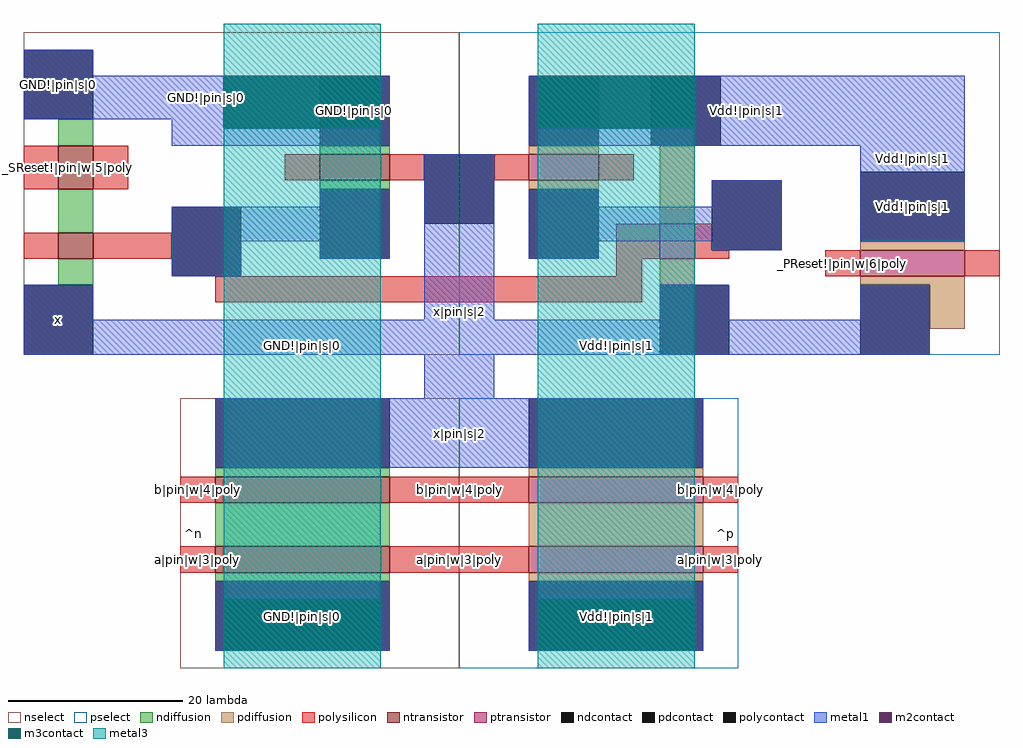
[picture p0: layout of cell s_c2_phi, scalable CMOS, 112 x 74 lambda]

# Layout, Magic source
magic
tech scmos
<< nselect >>
rect -50 118 0 155
rect -32 82 0 113
<< pselect >>
rect 0 118 62 155
rect 0 82 32 113
<< ndiffusion >>
rect -46 142 -42 145
rect -16 141 -8 142
rect -16 137 -8 138
rect -46 132 -42 137
rect -46 126 -42 129
rect -28 104 -8 105
rect -28 96 -8 101
rect -28 92 -8 93
<< pdiffusion >>
rect 8 141 16 142
rect 8 137 16 138
rect 23 133 27 142
rect 46 130 58 131
rect 23 126 27 129
rect 46 126 58 127
rect 54 121 58 126
rect 8 104 28 105
rect 8 96 28 101
rect 8 92 28 93
<< ntransistor >>
rect -46 137 -42 142
rect -16 138 -8 141
rect -46 129 -42 132
rect -28 101 -8 104
rect -28 93 -8 96
<< ptransistor >>
rect 8 138 16 141
rect 23 129 27 133
rect 46 127 58 130
rect 8 101 28 104
rect 8 93 28 96
<< polysilicon >>
rect -50 137 -46 142
rect -42 137 -38 142
rect -20 138 -16 141
rect -8 138 -4 141
rect -50 129 -46 132
rect -42 129 -33 132
rect 4 138 8 141
rect 16 138 20 141
rect 18 129 23 133
rect 27 130 29 133
rect 27 129 31 130
rect 18 127 21 129
rect -28 124 21 127
rect 42 127 46 130
rect 58 127 62 130
rect -32 101 -28 104
rect -8 101 8 104
rect 28 101 32 104
rect -32 93 -28 96
rect -8 93 8 96
rect 28 93 32 96
<< ndcontact >>
rect -50 145 -42 153
rect -16 142 -8 150
rect -16 129 -8 137
rect -50 118 -42 126
rect -28 105 -8 113
rect -28 84 -8 92
<< pdcontact >>
rect 8 142 16 150
rect 22 142 30 150
rect 8 129 16 137
rect 46 131 58 139
rect 23 118 31 126
rect 46 118 54 126
rect 8 105 28 113
rect 8 84 28 92
<< polycontact >>
rect -33 127 -25 135
rect -4 133 4 141
rect 29 130 37 138
<< metal1 >>
rect -50 150 -42 153
rect -50 145 -27 150
rect -33 144 -27 145
rect -9 144 -8 150
rect -33 142 -8 144
rect 8 144 9 150
rect 27 144 58 150
rect 8 142 58 144
rect -16 135 -8 137
rect -33 131 -8 135
rect -33 127 -25 131
rect -16 129 -8 131
rect -50 122 -42 126
rect -4 122 4 141
rect 8 135 16 137
rect 29 135 37 138
rect 8 131 37 135
rect 46 131 58 142
rect 8 129 16 131
rect 29 130 37 131
rect 23 122 31 126
rect 46 122 54 126
rect -50 118 54 122
rect -4 113 4 118
rect -28 105 28 113
rect -28 90 -8 92
rect -28 84 -27 90
rect -9 84 -8 90
rect 8 90 28 92
rect 8 84 9 90
rect 27 84 28 90
<< m2contact >>
rect -27 144 -9 150
rect 9 144 27 150
rect -27 84 -9 90
rect 9 84 27 90
<< m3contact >>
rect -27 144 -9 150
rect 9 144 27 150
rect -27 84 -9 90
rect 9 84 27 90
<< metal3 >>
rect -27 82 -9 156
rect 9 82 27 156
<< labels >>
rlabel metal1 -46 122 -46 122 3 x
rlabel space 28 82 33 113 3 ^p
rlabel space -33 82 -28 113 7 ^n
rlabel metal3 -27 82 -9 156 1 GND!|pin|s|0
rlabel metal3 9 82 27 156 1 Vdd!|pin|s|1
rlabel metal1 -50 145 -42 153 3 GND!|pin|s|0
rlabel metal1 -50 145 -8 150 1 GND!|pin|s|0
rlabel metal1 -16 142 -8 150 1 GND!|pin|s|0
rlabel metal1 -28 84 -8 92 1 GND!|pin|s|0
rlabel metal1 8 84 28 92 1 Vdd!|pin|s|1
rlabel metal1 8 142 58 150 1 Vdd!|pin|s|1
rlabel metal1 46 131 58 150 1 Vdd!|pin|s|1
rlabel metal1 46 131 58 139 1 Vdd!|pin|s|1
rlabel metal1 -28 105 28 113 1 x|pin|s|2
rlabel metal1 -4 105 4 141 1 x|pin|s|2
rlabel polysilicon 28 93 32 96 1 a|pin|w|3|poly
rlabel polysilicon -2 93 2 96 1 a|pin|w|3|poly
rlabel polysilicon -32 93 -28 96 1 a|pin|w|3|poly
rlabel polysilicon -32 101 -28 104 1 b|pin|w|4|poly
rlabel polysilicon -2 101 2 104 1 b|pin|w|4|poly
rlabel polysilicon 28 101 32 104 1 b|pin|w|4|poly
rlabel polysilicon -50 137 -46 142 1 _SReset!|pin|w|5|poly
rlabel polysilicon -42 137 -38 142 1 _SReset!|pin|w|5|poly
rlabel polysilicon 42 127 46 130 1 _PReset!|pin|w|6|poly
rlabel polysilicon 58 127 62 130 1 _PReset!|pin|w|6|poly
<< end >>
